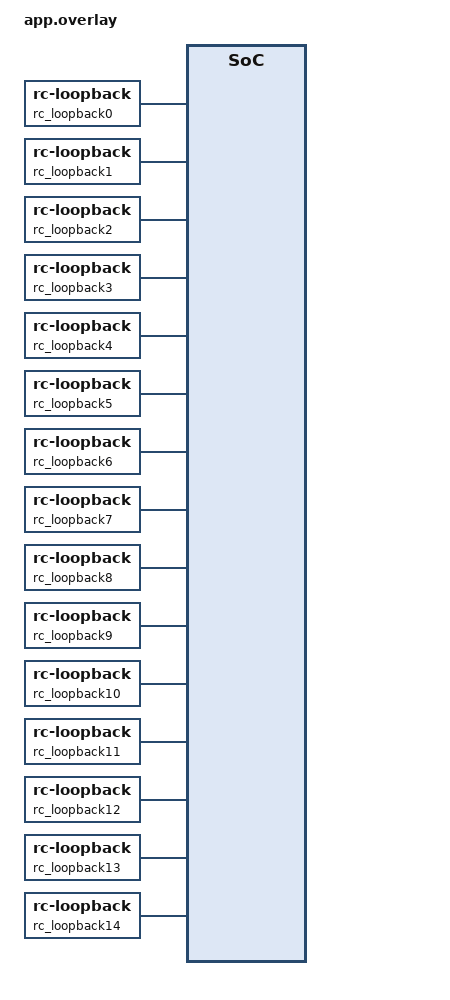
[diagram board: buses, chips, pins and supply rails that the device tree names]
/*
 * SPDX-FileCopyrightText: Copyright (c) 2026 Linumiz
 * SPDX-License-Identifier: Apache-2.0
 */

/ {
	rc_loopback0: rc-loopback-0 {
		compatible = "zephyr,rc-loopback";
		rx-timeout-us = <20000>;
		status = "okay";
	};

	rc_loopback1: rc-loopback-1 {
		compatible = "zephyr,rc-loopback";
		protocols = <0x1f2 0x1fe>;
		status = "okay";
	};

	rc_loopback2: rc-loopback-2 {
		compatible = "zephyr,rc-loopback";
		hw-rx-timeout;
		protocols = <0x1fe>;
		rx-timeout-us = <5000>;
		status = "okay";
	};

	rc_loopback3: rc-loopback-3 {
		compatible = "zephyr,rc-loopback";
		hw-rx-timeout;
		status = "okay";
	};

	rc_loopback4: rc-loopback-4 {
		compatible = "zephyr,rc-loopback";
		hw-rx-timeout;
		status = "okay";
	};

	rc_loopback5: rc-loopback-5 {
		compatible = "zephyr,rc-loopback";
		protocols = <0x1fa>;
		rx-timeout-us = <5000>;
		status = "okay";
	};

	rc_loopback6: rc-loopback-6 {
		compatible = "zephyr,rc-loopback";
		protocols = <0x1fb 0x1ff>;
		rx-timeout-us = <10000>;
		status = "okay";
	};

	rc_loopback7: rc-loopback-7 {
		compatible = "zephyr,rc-loopback";
		protocols = <0x1fa>;
		rx-timeout-us = <5000>;
		status = "okay";
	};

	rc_loopback8: rc-loopback-8 {
		compatible = "zephyr,rc-loopback";
		protocols = <0x1fa>;
		rx-timeout-us = <5000>;
		status = "okay";
	};

	rc_loopback9: rc-loopback-9 {
		compatible = "zephyr,rc-loopback";
		protocols = <0x1fe>;
		rx-timeout-us = <5000>;
		status = "okay";
	};

	rc_loopback10: rc-loopback-10 {
		compatible = "zephyr,rc-loopback";
		protocols = <0x1fe>;
		rx-timeout-us = <5000>;
		tx-echo;
		status = "okay";
	};

	rc_loopback11: rc-loopback-11 {
		compatible = "zephyr,rc-loopback";
		rx-only;
		status = "okay";
	};

	rc_loopback12: rc-loopback-12 {
		compatible = "zephyr,rc-loopback";
		protocols = <0x1fe>;
		status = "okay";
	};

	rc_loopback13: rc-loopback-13 {
		compatible = "zephyr,rc-loopback";
		protocols = <0x1fd>;
		rx-timeout-us = <5000>;
		tx-echo;
		status = "okay";
	};

	rc_loopback14: rc-loopback-14 {
		compatible = "zephyr,rc-loopback";
		protocols = <0x1fe>;
		fixed-carrier;
		status = "okay";
	};
};
